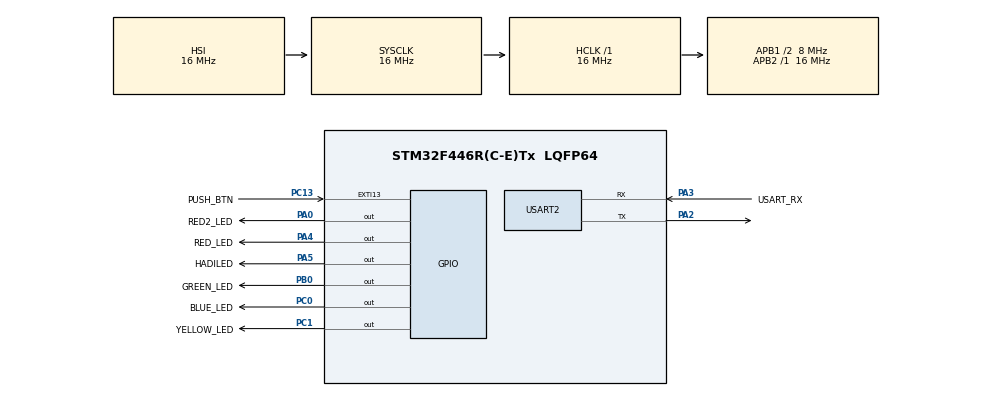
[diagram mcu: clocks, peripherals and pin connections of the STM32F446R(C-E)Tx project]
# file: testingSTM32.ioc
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FREERTOS.CountingSemaphores01=myCountingSem,5,Dynamic,NULL,0
FREERTOS.Tasks01=Task1,16,128,StartTask1,Default,NULL,Dynamic,NULL,NULL;Task2,16,128,StartTask2,Default,NULL,Dynamic,NULL,NULL;Task3,16,128,StartTask3,Default,NULL,Dynamic,NULL,NULL;myBtnTask,24,128,StartBtnTask,Default,NULL,Dynamic,NULL,NULL;Task5,16,128,StartTask5,Default,NULL,Dynamic,NULL,NULL;myTask6,16,128,StartTask6,Default,NULL,Dynamic,NULL,NULL
FREERTOS.configUSE_NEWLIB_REENTRANT=1
Mcu.Family=STM32F4
Mcu.Name=STM32F446R(C-E)Tx
Mcu.Package=LQFP64
NVIC.PriorityGroup=NVIC_PRIORITYGROUP_4
NVIC.TIM6_DAC_IRQn=true\:15\:0\:false\:false\:true\:false\:false\:true\:true
NVIC.TimeBase=TIM6_DAC_IRQn
NVIC.TimeBaseIP=TIM6
PA0-WKUP.GPIO_Label=RED2_LED
PA0-WKUP.Signal=GPIO_Output
PA13.GPIO_Label=TMS
PA13.Mode=Serial_Wire
PA13.Signal=SYS_JTMS-SWDIO
PA14.GPIO_Label=TCK
PA14.Mode=Serial_Wire
PA14.Signal=SYS_JTCK-SWCLK
PA2.Mode=Asynchronous
PA2.Signal=USART2_TX
PA3.GPIO_Label=USART_RX
PA3.Mode=Asynchronous
PA3.Signal=USART2_RX
PA4.GPIO_Label=RED_LED
PA4.Signal=GPIO_Output
PA5.GPIO_Label=HADILED
PA5.Signal=GPIO_Output
PB0.GPIO_Label=GREEN_LED
PB0.Signal=GPIO_Output
PB3.GPIO_Label=SWO
PB3.Signal=SYS_JTDO-SWO
PC0.GPIO_Label=BLUE_LED
PC0.Signal=GPIO_Output
PC1.GPIO_Label=YELLOW_LED
PC1.Signal=GPIO_Output
PC13.GPIO_Label=PUSH_BTN
PC13.Signal=GPXTI13
PC14-OSC32_IN.Mode=LSE-External-Oscillator
PC14-OSC32_IN.Signal=RCC_OSC32_IN
PC15-OSC32_OUT.Mode=LSE-External-Oscillator
PC15-OSC32_OUT.Signal=RCC_OSC32_OUT
PH0-OSC_IN.Mode=HSE-External-Oscillator
PH0-OSC_IN.Signal=RCC_OSC_IN
PH1-OSC_OUT.Mode=HSE-External-Oscillator
PH1-OSC_OUT.Signal=RCC_OSC_OUT
ProjectManager.HeapSize=0x200
ProjectManager.StackSize=0x400
ProjectManager.TargetToolchain=STM32CubeIDE
RCC.48MHZClocksFreq_Value=84000000
RCC.AHBFreq_Value=16000000
RCC.APB1CLKDivider=RCC_HCLK_DIV2
RCC.APB1Freq_Value=8000000
RCC.APB1TimFreq_Value=16000000
RCC.APB2Freq_Value=16000000
RCC.APB2TimFreq_Value=16000000
RCC.CortexFreq_Value=16000000
RCC.FLatency-AdvancedSettings=FLASH_LATENCY_0
RCC.HCLKFreq_Value=16000000
RCC.HSE_VALUE=8000000
RCC.HSI_VALUE=16000000
RCC.PLLN=336
RCC.PLLP=RCC_PLLP_DIV4
RCC.SYSCLKFreq_VALUE=16000000
RCC.USBFreq_Value=168000000
RCC.VCOOutputFreq_Value=336000000
USART2.VirtualMode=VM_ASYNC
VP_FREERTOS_VS_CMSIS_V2.Mode=CMSIS_V2
VP_SYS_VS_tim6.Mode=TIM6
board=NUCLEO-F446RE

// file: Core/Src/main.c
/* USER CODE BEGIN Header */
/**
  ******************************************************************************
  * @file           : main.c
  * @brief          : Main program body
  ******************************************************************************
  * @attention
  *
  * Copyright (c) 2025 STMicroelectronics.
  * All rights reserved.
  *
  * This software is licensed under terms that can be found in the LICENSE file
  * in the root directory of this software component.
  * If no LICENSE file comes with this software, it is provided AS-IS.
  *
  ******************************************************************************
  */
/* USER CODE END Header */
#include "main.h"
#include "cmsis_os.h"

UART_HandleTypeDef huart2;

/* Definitions for Task1 */
osThreadId_t Task1Handle;
const osThreadAttr_t Task1_attributes = {
  .name = "Task1",
  .stack_size = 128 * 4,
  .priority = (osPriority_t) osPriorityBelowNormal,
};
/* Definitions for Task2 */
osThreadId_t Task2Handle;
const osThreadAttr_t Task2_attributes = {
  .name = "Task2",
  .stack_size = 128 * 4,
  .priority = (osPriority_t) osPriorityBelowNormal,
};
/* Definitions for Task3 */
osThreadId_t Task3Handle;
const osThreadAttr_t Task3_attributes = {
  .name = "Task3",
  .stack_size = 128 * 4,
  .priority = (osPriority_t) osPriorityBelowNormal,
};
/* Definitions for myBtnTask */
osThreadId_t myBtnTaskHandle;
const osThreadAttr_t myBtnTask_attributes = {
  .name = "myBtnTask",
  .stack_size = 128 * 4,
  .priority = (osPriority_t) osPriorityNormal,
};
/* Definitions for Task5 */
osThreadId_t Task5Handle;
const osThreadAttr_t Task5_attributes = {
  .name = "Task5",
  .stack_size = 128 * 4,
  .priority = (osPriority_t) osPriorityBelowNormal,
};
/* Definitions for myTask6 */
osThreadId_t myTask6Handle;
const osThreadAttr_t myTask6_attributes = {
  .name = "myTask6",
  .stack_size = 128 * 4,
  .priority = (osPriority_t) osPriorityBelowNormal,
};
/* Definitions for myCountingSem */
osSemaphoreId_t myCountingSemHandle;
const osSemaphoreAttr_t myCountingSem_attributes = {
  .name = "myCountingSem"
};
/* USER CODE BEGIN PV */
uint32_t currentTime;
uint32_t previousTime;

/* USER CODE END PV */

void SystemClock_Config(void);
static void MX_GPIO_Init(void);
static void MX_USART2_UART_Init(void);
void StartTask1(void *argument);
void StartTask2(void *argument);
void StartTask3(void *argument);
void StartBtnTask(void *argument);
void StartTask5(void *argument);
void StartTask6(void *argument);

/* USER CODE BEGIN 0 */

//ISR code (not used for this project):
void HAL_GPIO_EXTI_Callback(uint16_t GPIO_Pin){
	  osSemaphoreRelease(myCountingSemHandle);
	  osSemaphoreRelease(myCountingSemHandle);
	  osSemaphoreRelease(myCountingSemHandle);
	  osSemaphoreRelease(myCountingSemHandle);
	  osSemaphoreRelease(myCountingSemHandle);
}

void turnOnLED(GPIO_TypeDef* user_GPIOx, uint16_t user_GPIO_Pin){
	HAL_GPIO_WritePin(user_GPIOx, user_GPIO_Pin, GPIO_PIN_SET);
}

void turnOffLED(GPIO_TypeDef* user_GPIOx, uint16_t user_GPIO_Pin){
	HAL_GPIO_WritePin(user_GPIOx, user_GPIO_Pin, GPIO_PIN_RESET);
}

/* USER CODE END 0 */

int main(void)
{

  /* MCU Configuration--------------------------------------------------------*/

  /* Reset of all peripherals, Initializes the Flash interface and the Systick. */
  HAL_Init();

  /* Configure the system clock */
  SystemClock_Config();

  /* Initialize all configured peripherals */
  MX_GPIO_Init();
  MX_USART2_UART_Init();

  /* Init scheduler */
  osKernelInitialize();

  /* Create the semaphores(s) */
  /* creation of myCountingSem */
  myCountingSemHandle = osSemaphoreNew(5, 0, &myCountingSem_attributes);

  /* Create the thread(s) */
  /* creation of Task1 */
  Task1Handle = osThreadNew(StartTask1, NULL, &Task1_attributes);

  /* creation of Task2 */
  Task2Handle = osThreadNew(StartTask2, NULL, &Task2_attributes);

  /* creation of Task3 */
  Task3Handle = osThreadNew(StartTask3, NULL, &Task3_attributes);

  /* creation of myBtnTask */
  myBtnTaskHandle = osThreadNew(StartBtnTask, NULL, &myBtnTask_attributes);

  /* creation of Task5 */
  Task5Handle = osThreadNew(StartTask5, NULL, &Task5_attributes);

  /* creation of myTask6 */
  myTask6Handle = osThreadNew(StartTask6, NULL, &myTask6_attributes);

  /* Start scheduler */
  osKernelStart();

  /* We should never get here as control is now taken by the scheduler */

  /* Infinite loop */
  while (1)
  {

  }
}

void SystemClock_Config(void)
{
  RCC_OscInitTypeDef RCC_OscInitStruct = {0};
  RCC_ClkInitTypeDef RCC_ClkInitStruct = {0};

  /** Configure the main internal regulator output voltage
  */
  __HAL_RCC_PWR_CLK_ENABLE();
  __HAL_PWR_VOLTAGESCALING_CONFIG(PWR_REGULATOR_VOLTAGE_SCALE3);

  /** Initializes the RCC Oscillators according to the specified parameters
  * in the RCC_OscInitTypeDef structure.
  */
  RCC_OscInitStruct.OscillatorType = RCC_OSCILLATORTYPE_HSI;
  RCC_OscInitStruct.HSIState = RCC_HSI_ON;
  RCC_OscInitStruct.HSICalibrationValue = RCC_HSICALIBRATION_DEFAULT;
  RCC_OscInitStruct.PLL.PLLState = RCC_PLL_NONE;
  if (HAL_RCC_OscConfig(&RCC_OscInitStruct) != HAL_OK)
  {
    Error_Handler();
  }

  /** Initializes the CPU, AHB and APB buses clocks
  */
  RCC_ClkInitStruct.ClockType = RCC_CLOCKTYPE_HCLK|RCC_CLOCKTYPE_SYSCLK
                              |RCC_CLOCKTYPE_PCLK1|RCC_CLOCKTYPE_PCLK2;
  RCC_ClkInitStruct.SYSCLKSource = RCC_SYSCLKSOURCE_HSI;
  RCC_ClkInitStruct.AHBCLKDivider = RCC_SYSCLK_DIV1;
  RCC_ClkInitStruct.APB1CLKDivider = RCC_HCLK_DIV2;
  RCC_ClkInitStruct.APB2CLKDivider = RCC_HCLK_DIV1;

  if (HAL_RCC_ClockConfig(&RCC_ClkInitStruct, FLASH_LATENCY_0) != HAL_OK)
  {
    Error_Handler();
  }
}

static void MX_USART2_UART_Init(void)
{

  huart2.Instance = USART2;
  huart2.Init.BaudRate = 115200;
  huart2.Init.WordLength = UART_WORDLENGTH_8B;
  huart2.Init.StopBits = UART_STOPBITS_1;
  huart2.Init.Parity = UART_PARITY_NONE;
  huart2.Init.Mode = UART_MODE_TX_RX;
  huart2.Init.HwFlowCtl = UART_HWCONTROL_NONE;
  huart2.Init.OverSampling = UART_OVERSAMPLING_16;
  if (HAL_UART_Init(&huart2) != HAL_OK)
  {
    Error_Handler();
  }

}

static void MX_GPIO_Init(void)
{
  GPIO_InitTypeDef GPIO_InitStruct = {0};

  /* GPIO Ports Clock Enable */
  __HAL_RCC_GPIOC_CLK_ENABLE();
  __HAL_RCC_GPIOH_CLK_ENABLE();
  __HAL_RCC_GPIOA_CLK_ENABLE();
  __HAL_RCC_GPIOB_CLK_ENABLE();

  /*Configure GPIO pin Output Level */
  HAL_GPIO_WritePin(GPIOC, BLUE_LED_Pin|YELLOW_LED_Pin, GPIO_PIN_RESET);

  /*Configure GPIO pin Output Level */
  HAL_GPIO_WritePin(GPIOA, RED2_LED_Pin|RED_LED_Pin|HADILED_Pin, GPIO_PIN_RESET);

  /*Configure GPIO pin Output Level */
  HAL_GPIO_WritePin(GREEN_LED_GPIO_Port, GREEN_LED_Pin, GPIO_PIN_RESET);

  /*Configure GPIO pin : PUSH_BTN_Pin */
  GPIO_InitStruct.Pin = PUSH_BTN_Pin;
  GPIO_InitStruct.Mode = GPIO_MODE_IT_RISING;
  GPIO_InitStruct.Pull = GPIO_NOPULL;
  HAL_GPIO_Init(PUSH_BTN_GPIO_Port, &GPIO_InitStruct);

  /*Configure GPIO pins : BLUE_LED_Pin YELLOW_LED_Pin */
  GPIO_InitStruct.Pin = BLUE_LED_Pin|YELLOW_LED_Pin;
  GPIO_InitStruct.Mode = GPIO_MODE_OUTPUT_PP;
  GPIO_InitStruct.Pull = GPIO_NOPULL;
  GPIO_InitStruct.Speed = GPIO_SPEED_FREQ_LOW;
  HAL_GPIO_Init(GPIOC, &GPIO_InitStruct);

  /*Configure GPIO pins : RED2_LED_Pin RED_LED_Pin HADILED_Pin */
  GPIO_InitStruct.Pin = RED2_LED_Pin|RED_LED_Pin|HADILED_Pin;
  GPIO_InitStruct.Mode = GPIO_MODE_OUTPUT_PP;
  GPIO_InitStruct.Pull = GPIO_NOPULL;
  GPIO_InitStruct.Speed = GPIO_SPEED_FREQ_LOW;
  HAL_GPIO_Init(GPIOA, &GPIO_InitStruct);

  /*Configure GPIO pin : GREEN_LED_Pin */
  GPIO_InitStruct.Pin = GREEN_LED_Pin;
  GPIO_InitStruct.Mode = GPIO_MODE_OUTPUT_PP;
  GPIO_InitStruct.Pull = GPIO_NOPULL;
  GPIO_InitStruct.Speed = GPIO_SPEED_FREQ_LOW;
  HAL_GPIO_Init(GREEN_LED_GPIO_Port, &GPIO_InitStruct);

}

void StartTask1(void *argument)
{
  /* USER CODE BEGIN 5 */
  /* Infinite loop */
  for(;;)
  {
	osSemaphoreAcquire(myCountingSemHandle,osWaitForever);
	osDelay(3000);
	turnOnLED(RED_LED_GPIO_Port, RED_LED_Pin);
    osDelay(14000);
    turnOffLED(RED_LED_GPIO_Port, RED_LED_Pin);
  }
  /* USER CODE END 5 */
}

void StartTask2(void *argument)
{
  /* USER CODE BEGIN StartTask2 */
  /* Infinite loop */
  for(;;)
  {
	osSemaphoreAcquire(myCountingSemHandle,osWaitForever);
	turnOnLED(YELLOW_LED_GPIO_Port, YELLOW_LED_Pin);
    osDelay(3000);
    turnOffLED(YELLOW_LED_GPIO_Port, YELLOW_LED_Pin);
    osDelay(12000);
    turnOnLED(YELLOW_LED_GPIO_Port, YELLOW_LED_Pin);
    osDelay(2000);
    turnOffLED(YELLOW_LED_GPIO_Port, YELLOW_LED_Pin);
  }
  /* USER CODE END StartTask2 */
}

void StartTask3(void *argument)
{
  /* USER CODE BEGIN StartTask3 */
  /* Infinite loop */
  for(;;)
  {
	turnOnLED(GREEN_LED_GPIO_Port, GREEN_LED_Pin);
	osSemaphoreAcquire(myCountingSemHandle,osWaitForever);
	turnOffLED(GREEN_LED_GPIO_Port, GREEN_LED_Pin);
	osDelay(17000);
  }
  /* USER CODE END StartTask3 */
}

void StartBtnTask(void *argument)
{
  /* USER CODE BEGIN StartBtnTask */
	uint32_t cnt=0;
  /* Infinite loop */
  for(;;)
  {

	  if(HAL_GPIO_ReadPin(PUSH_BTN_GPIO_Port, PUSH_BTN_Pin)==0){
		  osDelay(100);
		  if(HAL_GPIO_ReadPin(PUSH_BTN_GPIO_Port, PUSH_BTN_Pin)==0){
			  osSemaphoreRelease(myCountingSemHandle);
			  osSemaphoreRelease(myCountingSemHandle);
			  osSemaphoreRelease(myCountingSemHandle);
			  osSemaphoreRelease(myCountingSemHandle);
			  osSemaphoreRelease(myCountingSemHandle);
		  }
	  }
//	  osDelay(20);

  }
  /* USER CODE END StartBtnTask */
}

void StartTask5(void *argument)
{
  /* USER CODE BEGIN StartTask5 */
  /* Infinite loop */
  for(;;)
  {
	turnOnLED(RED2_LED_GPIO_Port, RED2_LED_Pin);
	osSemaphoreAcquire(myCountingSemHandle,osWaitForever);
    osDelay(4000);
    turnOffLED(RED2_LED_GPIO_Port, RED2_LED_Pin);
    osDelay(10000);
    turnOnLED(RED2_LED_GPIO_Port, RED2_LED_Pin);
    osDelay(3000);

  }
  /* USER CODE END StartTask5 */
}

void StartTask6(void *argument)
{
  /* USER CODE BEGIN StartTask6 */
  /* Infinite loop */
  for(;;)
  {
	osSemaphoreAcquire(myCountingSemHandle,osWaitForever);
    osDelay(4000);
    turnOnLED(BLUE_LED_GPIO_Port, BLUE_LED_Pin);
    turnOffLED(BLUE_LED_GPIO_Port, BLUE_LED_Pin);
    osDelay(10000);
    turnOnLED(BLUE_LED_GPIO_Port, BLUE_LED_Pin);
    osDelay(3000);
  }
  /* USER CODE END StartTask6 */
}

void HAL_TIM_PeriodElapsedCallback(TIM_HandleTypeDef *htim)
{
  if (htim->Instance == TIM6)
  {
    HAL_IncTick();
  }
}

void Error_Handler(void)
{
  __disable_irq();
  while (1)
  {
  }
}
